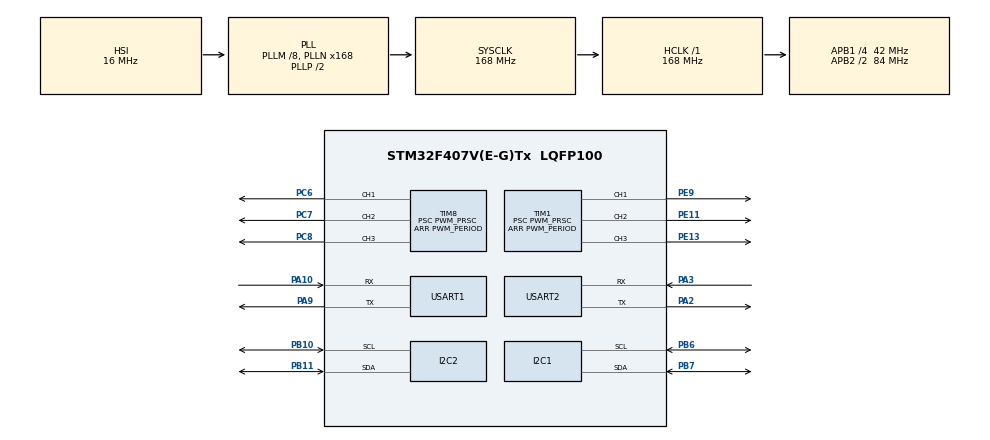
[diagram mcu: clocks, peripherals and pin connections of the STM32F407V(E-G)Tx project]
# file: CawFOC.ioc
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FREERTOS.Tasks01=FOCATask,24,512,StartFOCATask,Default,NULL,Dynamic,NULL,NULL;FOCBTask,24,512,StartFOCBTask,Default,NULL,Dynamic,NULL,NULL
Mcu.Family=STM32F4
Mcu.Name=STM32F407V(E-G)Tx
Mcu.Package=LQFP100
Mcu.UserConstants=CKTIM,168000000;PWM_PRSC,0;PWM_FREQ,15000;PWM_PERIOD,CKTIM/(2*PWM_FREQ*(PWM_PRSC+1))
NVIC.PriorityGroup=NVIC_PRIORITYGROUP_4
NVIC.USART1_IRQn=true\:5\:0\:false\:false\:true\:true\:true\:true\:true
NVIC.USART2_IRQn=true\:5\:0\:false\:false\:true\:true\:true\:true\:true
PA10.Mode=Asynchronous
PA10.Signal=USART1_RX
PA2.Mode=Asynchronous
PA2.Signal=USART2_TX
PA3.Mode=Asynchronous
PA3.Signal=USART2_RX
PA9.Mode=Asynchronous
PA9.Signal=USART1_TX
PB10.Mode=I2C
PB10.Signal=I2C2_SCL
PB11.Mode=I2C
PB11.Signal=I2C2_SDA
PB6.Mode=I2C
PB6.Signal=I2C1_SCL
PB7.Mode=I2C
PB7.Signal=I2C1_SDA
PC6.Signal=S_TIM8_CH1
PC7.Signal=S_TIM8_CH2
PC8.Signal=S_TIM8_CH3
PE11.Signal=S_TIM1_CH2
PE13.Signal=S_TIM1_CH3
PE9.Signal=S_TIM1_CH1
PH0-OSC_IN.Mode=HSE-External-Oscillator
PH0-OSC_IN.Signal=RCC_OSC_IN
PH1-OSC_OUT.Mode=HSE-External-Oscillator
PH1-OSC_OUT.Signal=RCC_OSC_OUT
ProjectManager.HeapSize=0x200
ProjectManager.StackSize=0x400
ProjectManager.TargetToolchain=Makefile
RCC.48MHZClocksFreq_Value=84000000
RCC.AHBFreq_Value=168000000
RCC.APB1CLKDivider=RCC_HCLK_DIV4
RCC.APB1Freq_Value=42000000
RCC.APB1TimFreq_Value=84000000
RCC.APB2CLKDivider=RCC_HCLK_DIV2
RCC.APB2Freq_Value=84000000
RCC.APB2TimFreq_Value=168000000
RCC.CortexFreq_Value=168000000
RCC.HCLKFreq_Value=168000000
RCC.HSE_VALUE=16000000
RCC.HSI_VALUE=16000000
RCC.LSE_VALUE=32768
RCC.PLLM=8
RCC.PLLN=168
RCC.SYSCLKFreq_VALUE=168000000
RCC.SYSCLKSource=RCC_SYSCLKSOURCE_PLLCLK
RCC.VCOOutputFreq_Value=336000000
SH.S_TIM1_CH1.0=TIM1_CH1,PWM Generation1 CH1
SH.S_TIM1_CH2.0=TIM1_CH2,PWM Generation2 CH2
SH.S_TIM1_CH3.0=TIM1_CH3,PWM Generation3 CH3
SH.S_TIM8_CH1.0=TIM8_CH1,PWM Generation1 CH1
SH.S_TIM8_CH2.0=TIM8_CH2,PWM Generation2 CH2
SH.S_TIM8_CH3.0=TIM8_CH3,PWM Generation3 CH3
TIM1.AutoReloadPreload=TIM_AUTORELOAD_PRELOAD_DISABLE
TIM1.Channel-PWM\ Generation1\ CH1=TIM_CHANNEL_1
TIM1.Channel-PWM\ Generation2\ CH2=TIM_CHANNEL_2
TIM1.Channel-PWM\ Generation3\ CH3=TIM_CHANNEL_3
TIM1.ClockDivision=TIM_CLOCKDIVISION_DIV2
TIM1.CounterMode=TIM_COUNTERMODE_CENTERALIGNED1
TIM1.Period=PWM_PERIOD
TIM1.Prescaler=PWM_PRSC
TIM1.RepetitionCounter=1
TIM1.TIM_MasterOutputTrigger=TIM_TRGO_OC4REF
TIM8.AutoReloadPreload=TIM_AUTORELOAD_PRELOAD_DISABLE
TIM8.Channel-PWM\ Generation1\ CH1=TIM_CHANNEL_1
TIM8.Channel-PWM\ Generation2\ CH2=TIM_CHANNEL_2
TIM8.Channel-PWM\ Generation3\ CH3=TIM_CHANNEL_3
TIM8.ClockDivision=TIM_CLOCKDIVISION_DIV2
TIM8.CounterMode=TIM_COUNTERMODE_CENTERALIGNED1
TIM8.Period=PWM_PERIOD
TIM8.Prescaler=PWM_PRSC
TIM8.RepetitionCounter=1
TIM8.TIM_MasterOutputTrigger=TIM_TRGO_OC4REF
USART1.VirtualMode=VM_ASYNC
USART2.VirtualMode=VM_ASYNC
VP_FREERTOS_VS_CMSIS_V2.Mode=CMSIS_V2
VP_TIM1_VS_ClockSourceINT.Mode=Internal
VP_TIM8_VS_ClockSourceINT.Mode=Internal
board=custom

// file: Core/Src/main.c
/* USER CODE BEGIN Header */
/**
 ******************************************************************************
 * @file           : main.c
 * @brief          : Main program body
 ******************************************************************************
 * @attention
 *
 * Copyright (c) 2023 STMicroelectronics.
 * All rights reserved.
 *
 * This software is licensed under terms that can be found in the LICENSE file
 * in the root directory of this software component.
 * If no LICENSE file comes with this software, it is provided AS-IS.
 *
 ******************************************************************************
 */
/* USER CODE END Header */
#include "main.h"
#include "cmsis_os.h"
#include "i2c.h"
#include "tim.h"
#include "usart.h"
#include "gpio.h"

/* USER CODE BEGIN Includes */
#include "log.h"
/* USER CODE END Includes */

void SystemClock_Config(void);
void MX_FREERTOS_Init(void);

int main(void)
{

  /* MCU Configuration--------------------------------------------------------*/

  /* Reset of all peripherals, Initializes the Flash interface and the Systick. */
  HAL_Init();

  /* Configure the system clock */
  SystemClock_Config();

  /* Initialize all configured peripherals */
  MX_GPIO_Init();
  MX_I2C1_Init();
  MX_I2C2_Init();
  MX_USART1_UART_Init();
  MX_TIM1_Init();
  MX_TIM8_Init();
  MX_USART2_UART_Init();
  /* USER CODE BEGIN 2 */
  HAL_Delay(300);
  HAL_TIM_PWM_Start(&htim1, TIM_CHANNEL_1);
  HAL_TIM_PWM_Start(&htim1, TIM_CHANNEL_2);
  HAL_TIM_PWM_Start(&htim1, TIM_CHANNEL_3);

  HAL_TIM_PWM_Start(&htim8, TIM_CHANNEL_1);
  HAL_TIM_PWM_Start(&htim8, TIM_CHANNEL_2);
  HAL_TIM_PWM_Start(&htim8, TIM_CHANNEL_3);

  CAW_LOG_Init(&huart1, LEVEL_DEBUG, true);
  CAW_LOG_DEBUG("CAW FOC");

  /* USER CODE END 2 */

  /* Init scheduler */
  osKernelInitialize();  /* Call init function for freertos objects (in freertos.c) */
  MX_FREERTOS_Init();

  /* Start scheduler */
  osKernelStart();
  /* We should never get here as control is now taken by the scheduler */
  /* Infinite loop */
  while (1) {

  }
}

void SystemClock_Config(void)
{
  RCC_OscInitTypeDef RCC_OscInitStruct = {0};
  RCC_ClkInitTypeDef RCC_ClkInitStruct = {0};

  /** Configure the main internal regulator output voltage
  */
  __HAL_RCC_PWR_CLK_ENABLE();
  __HAL_PWR_VOLTAGESCALING_CONFIG(PWR_REGULATOR_VOLTAGE_SCALE1);

  /** Initializes the RCC Oscillators according to the specified parameters
  * in the RCC_OscInitTypeDef structure.
  */
  RCC_OscInitStruct.OscillatorType = RCC_OSCILLATORTYPE_HSI;
  RCC_OscInitStruct.HSIState = RCC_HSI_ON;
  RCC_OscInitStruct.HSICalibrationValue = RCC_HSICALIBRATION_DEFAULT;
  RCC_OscInitStruct.PLL.PLLState = RCC_PLL_ON;
  RCC_OscInitStruct.PLL.PLLSource = RCC_PLLSOURCE_HSI;
  RCC_OscInitStruct.PLL.PLLM = 8;
  RCC_OscInitStruct.PLL.PLLN = 168;
  RCC_OscInitStruct.PLL.PLLP = RCC_PLLP_DIV2;
  RCC_OscInitStruct.PLL.PLLQ = 4;
  if (HAL_RCC_OscConfig(&RCC_OscInitStruct) != HAL_OK)
  {
    Error_Handler();
  }

  /** Initializes the CPU, AHB and APB buses clocks
  */
  RCC_ClkInitStruct.ClockType = RCC_CLOCKTYPE_HCLK|RCC_CLOCKTYPE_SYSCLK
                              |RCC_CLOCKTYPE_PCLK1|RCC_CLOCKTYPE_PCLK2;
  RCC_ClkInitStruct.SYSCLKSource = RCC_SYSCLKSOURCE_PLLCLK;
  RCC_ClkInitStruct.AHBCLKDivider = RCC_SYSCLK_DIV1;
  RCC_ClkInitStruct.APB1CLKDivider = RCC_HCLK_DIV4;
  RCC_ClkInitStruct.APB2CLKDivider = RCC_HCLK_DIV2;

  if (HAL_RCC_ClockConfig(&RCC_ClkInitStruct, FLASH_LATENCY_5) != HAL_OK)
  {
    Error_Handler();
  }
}

void Error_Handler(void)
{
  __disable_irq();
  while (1) {
  }
}

#ifdef  USE_FULL_ASSERT
/**
  * @brief  Reports the name of the source file and the source line number
  *         where the assert_param error has occurred.
  * @param  file: pointer to the source file name
  * @param  line: assert_param error line source number
  * @retval None
  */
void assert_failed(uint8_t *file, uint32_t line)
{
  /* USER CODE BEGIN 6 */
  /* User can add his own implementation to report the file name and line
     number, ex: printf("Wrong parameters value: file %s on line %d\r\n", file,
     line) */
  /* USER CODE END 6 */
}
#endif /* USE_FULL_ASSERT */

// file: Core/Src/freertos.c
/* USER CODE BEGIN Header */
/**
 ******************************************************************************
 * File Name          : freertos.c
 * Description        : Code for freertos applications
 ******************************************************************************
 * @attention
 *
 * Copyright (c) 2023 STMicroelectronics.
 * All rights reserved.
 *
 * This software is licensed under terms that can be found in the LICENSE file
 * in the root directory of this software component.
 * If no LICENSE file comes with this software, it is provided AS-IS.
 *
 ******************************************************************************
 */
/* USER CODE END Header */

#include "FreeRTOS.h"

#include "cmsis_os.h"
#include "main.h"
#include "task.h"

/* USER CODE BEGIN Includes */
#include "foc.h"
#include "foc_hal.h"
#include "foc_test.h"
#include "i2c.h"
#include "log.h"
#include "lowpass_filter.h"
#include "math.h"
#include "pid.h"
/* USER CODE END Includes */

/* USER CODE BEGIN Variables */
bool focAReady = false;
bool focBReady = false;
/* USER CODE END Variables */
/* Definitions for FOCATask */
osThreadId_t FOCATaskHandle;
const osThreadAttr_t FOCATask_attributes = {
    .name = "FOCATask",
    .stack_size = 512 * 4,
    .priority = (osPriority_t)osPriorityNormal,
};
/* Definitions for FOCBTask */
osThreadId_t FOCBTaskHandle;
const osThreadAttr_t FOCBTask_attributes = {
    .name = "FOCBTask",
    .stack_size = 512 * 4,
    .priority = (osPriority_t)osPriorityNormal,
};

void StartFOCATask(void *argument);
void StartFOCBTask(void *argument);

void MX_FREERTOS_Init(void); /* (MISRA C 2004 rule 8.1) */

void MX_FREERTOS_Init(void) {

  /* Create the thread(s) */
  /* creation of FOCATask */
  FOCATaskHandle = osThreadNew(StartFOCATask, NULL, &FOCATask_attributes);

  /* creation of FOCBTask */
  FOCBTaskHandle = osThreadNew(StartFOCBTask, NULL, &FOCBTask_attributes);

}

void StartFOCATask(void *argument) {
  /* USER CODE BEGIN StartFOCATask */
  FOC_T foc;
  PID_T velPID;
  PID_T anglePID;
  LOWPASS_FILTER_T velFilter;
  FOC_Closeloop_Init(&foc, &htim1, PWM_PERIOD, 12.6, 1, 7);
  FOC_SetVoltageLimit(&foc, 12.0);
  FOC_HAL_InitA(&foc, &hi2c1);

  PID_Init(&velPID, 2, 0, 0, 100000, foc.voltage_power_supply / 2);
  PID_Init(&anglePID, 2, 0, 0, 100000, 100);
  LOWPASS_FILTER_Init(&velFilter, 0.01);

  FOC_AlignmentSensor(&foc);

  focAReady = true;
  while (!focAReady || !focBReady) vTaskDelay(pdMS_TO_TICKS(10));

  /* Infinite loop */
  for (;;) {
    // 闭环位置控制
    // Foc_TestCloseloopAngle(&foc1, &anglePID1, 3.141592654);
    // 闭环速度控制
    Foc_TestCloseloopVelocity(&foc, &velFilter, &velPID, 10);
    FOC_SensorUpdate(&foc);
    osDelay(1);
  }
  /* USER CODE END StartFOCATask */
}

void StartFOCBTask(void *argument) {
  /* USER CODE BEGIN StartFOCBTask */
  FOC_T foc;
  PID_T velPID;
  PID_T anglePID;
  LOWPASS_FILTER_T velFilter;
  FOC_Closeloop_Init(&foc, &htim8, PWM_PERIOD, 12.6, 1, 7);
  FOC_SetVoltageLimit(&foc, 12.0);
  FOC_HAL_InitB(&foc, &hi2c2);

  PID_Init(&velPID, 2, 0, 0, 100000, foc.voltage_power_supply / 2);
  PID_Init(&anglePID, 2, 0, 0, 100000, 100);
  LOWPASS_FILTER_Init(&velFilter, 0.01);

  FOC_AlignmentSensor(&foc);

  focBReady = true;
  while (!focAReady || !focBReady) vTaskDelay(pdMS_TO_TICKS(10));

  /* Infinite loop */
  for (;;) {
    Foc_TestCloseloopVelocity(&foc, &velFilter, &velPID, 10);
    FOC_SensorUpdate(&foc);
    osDelay(1);
  }
  /* USER CODE END StartFOCBTask */
}
